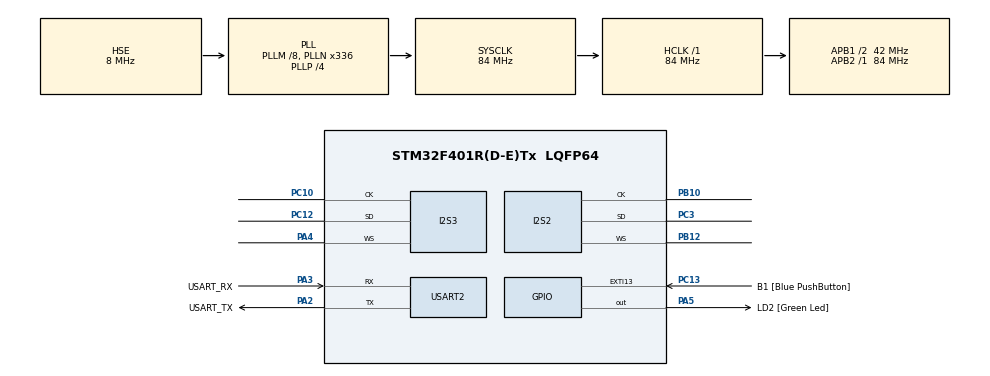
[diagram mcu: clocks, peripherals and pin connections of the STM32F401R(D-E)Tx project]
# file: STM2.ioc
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Dma.Request0=SPI2_RX
Dma.Request1=SPI3_RX
Dma.SPI2_RX.0.Direction=DMA_PERIPH_TO_MEMORY
Dma.SPI2_RX.0.FIFOMode=DMA_FIFOMODE_DISABLE
Dma.SPI2_RX.0.Instance=DMA1_Stream3
Dma.SPI2_RX.0.MemDataAlignment=DMA_MDATAALIGN_HALFWORD
Dma.SPI2_RX.0.MemInc=DMA_MINC_ENABLE
Dma.SPI2_RX.0.Mode=DMA_CIRCULAR
Dma.SPI2_RX.0.PeriphDataAlignment=DMA_PDATAALIGN_HALFWORD
Dma.SPI2_RX.0.PeriphInc=DMA_PINC_DISABLE
Dma.SPI2_RX.0.Priority=DMA_PRIORITY_LOW
Dma.SPI3_RX.1.Direction=DMA_PERIPH_TO_MEMORY
Dma.SPI3_RX.1.FIFOMode=DMA_FIFOMODE_DISABLE
Dma.SPI3_RX.1.Instance=DMA1_Stream0
Dma.SPI3_RX.1.MemDataAlignment=DMA_MDATAALIGN_HALFWORD
Dma.SPI3_RX.1.MemInc=DMA_MINC_ENABLE
Dma.SPI3_RX.1.Mode=DMA_CIRCULAR
Dma.SPI3_RX.1.PeriphDataAlignment=DMA_PDATAALIGN_HALFWORD
Dma.SPI3_RX.1.PeriphInc=DMA_PINC_DISABLE
Dma.SPI3_RX.1.Priority=DMA_PRIORITY_LOW
I2S2.AudioFreq=I2S_AUDIOFREQ_16K
I2S2.ErrorAudioFreq=-0.26 %
I2S2.FullDuplexMode=I2S_FULLDUPLEXMODE_DISABLE
I2S2.Instance=SPI$Index
I2S2.Mode=I2S_MODE_MASTER_RX
I2S2.RealAudioFreq=15.957 KHz
I2S2.VirtualMode=I2S_MODE_MASTER
I2S3.AudioFreq=I2S_AUDIOFREQ_16K
I2S3.ErrorAudioFreq=-0.26 %
I2S3.FullDuplexMode=I2S_FULLDUPLEXMODE_DISABLE
I2S3.Instance=SPI$Index
I2S3.Mode=I2S_MODE_SLAVE_RX
I2S3.RealAudioFreq=15.957 KHz
I2S3.VirtualMode=I2S_MODE_SLAVE
Mcu.Family=STM32F4
Mcu.Name=STM32F401R(D-E)Tx
Mcu.Package=LQFP64
NVIC.DMA1_Stream0_IRQn=true\:0\:0\:false\:false\:true\:false\:true\:true
NVIC.DMA1_Stream3_IRQn=true\:0\:0\:false\:false\:true\:false\:true\:true
NVIC.PriorityGroup=NVIC_PRIORITYGROUP_0
PA13.GPIO_Label=TMS
PA13.Mode=Serial_Wire
PA13.Signal=SYS_JTMS-SWDIO
PA14.GPIO_Label=TCK
PA14.Mode=Serial_Wire
PA14.Signal=SYS_JTCK-SWCLK
PA2.GPIO_Label=USART_TX
PA2.GPIO_Mode=GPIO_MODE_AF_PP
PA2.GPIO_PuPd=GPIO_NOPULL
PA2.GPIO_Speed=GPIO_SPEED_FREQ_LOW
PA2.Mode=Asynchronous
PA2.Signal=USART2_TX
PA3.GPIO_Label=USART_RX
PA3.GPIO_Mode=GPIO_MODE_AF_PP
PA3.GPIO_PuPd=GPIO_NOPULL
PA3.GPIO_Speed=GPIO_SPEED_FREQ_LOW
PA3.Mode=Asynchronous
PA3.Signal=USART2_RX
PA4.Mode=Half_Duplex_Slave
PA4.Signal=I2S3_WS
PA5.GPIO_Label=LD2 [Green Led]
PA5.GPIO_Mode=GPIO_MODE_OUTPUT_PP
PA5.GPIO_PuPd=GPIO_NOPULL
PA5.GPIO_Speed=GPIO_SPEED_FREQ_LOW
PA5.Signal=GPIO_Output
PB10.Mode=Half_Duplex_Master
PB10.Signal=I2S2_CK
PB12.Mode=Half_Duplex_Master
PB12.Signal=I2S2_WS
PB3.GPIO_Label=SWO
PB3.Signal=SYS_JTDO-SWO
PC10.Mode=Half_Duplex_Slave
PC10.Signal=I2S3_CK
PC12.Mode=Half_Duplex_Slave
PC12.Signal=I2S3_SD
PC13-ANTI_TAMP.GPIO_Label=B1 [Blue PushButton]
PC13-ANTI_TAMP.GPIO_ModeDefaultEXTI=GPIO_MODE_IT_FALLING
PC13-ANTI_TAMP.GPIO_PuPd=GPIO_NOPULL
PC13-ANTI_TAMP.Signal=GPXTI13
PC14-OSC32_IN.Signal=RCC_OSC32_IN
PC15-OSC32_OUT.Signal=RCC_OSC32_OUT
PC3.Mode=Half_Duplex_Master
PC3.Signal=I2S2_SD
PH0\ -\ OSC_IN.Mode=HSE-External-Clock-Source
PH0\ -\ OSC_IN.Signal=RCC_OSC_IN
PH1\ -\ OSC_OUT.Mode=HSE-External-Clock-Source
PH1\ -\ OSC_OUT.Signal=RCC_OSC_OUT
ProjectManager.HeapSize=0x200
ProjectManager.StackSize=0x400
ProjectManager.TargetToolchain=STM32CubeIDE
RCC.48MHZClocksFreq_Value=48000000
RCC.AHBFreq_Value=84000000
RCC.APB1CLKDivider=RCC_HCLK_DIV2
RCC.APB1Freq_Value=42000000
RCC.APB1TimFreq_Value=84000000
RCC.APB2Freq_Value=84000000
RCC.APB2TimFreq_Value=84000000
RCC.CortexFreq_Value=84000000
RCC.HCLKFreq_Value=84000000
RCC.HSE_VALUE=8000000
RCC.HSI_VALUE=16000000
RCC.PLLM=8
RCC.PLLN=336
RCC.PLLP=RCC_PLLP_DIV4
RCC.PLLQ=7
RCC.PLLSourceVirtual=RCC_PLLSOURCE_HSE
RCC.SYSCLKFreq_VALUE=84000000
RCC.SYSCLKSource=RCC_SYSCLKSOURCE_PLLCLK
RCC.VCOOutputFreq_Value=336000000
USART2.VirtualMode=VM_ASYNC
board=NUCLEO-F401RE

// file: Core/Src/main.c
/* USER CODE BEGIN Header */
/**
  ******************************************************************************
  * @file           : main.c
  * @brief          : Main program body
  ******************************************************************************
  * @attention
  *
  * Copyright (c) 2026 STMicroelectronics.
  * All rights reserved.
  *
  * This software is licensed under terms that can be found in the LICENSE file
  * in the root directory of this software component.
  * If no LICENSE file comes with this software, it is provided AS-IS.
  *
  ******************************************************************************
  */
/* USER CODE END Header */
#include "main.h"

I2S_HandleTypeDef hi2s2;
I2S_HandleTypeDef hi2s3;
DMA_HandleTypeDef hdma_spi2_rx;
DMA_HandleTypeDef hdma_spi3_rx;

UART_HandleTypeDef huart2;

/* USER CODE BEGIN PV */
/* Per-channel samples in one FFT window. Swap this to 512/1024 for the
 * cycle-count benchmark later; everything else scales off it. */
#define WINDOW_SAMPLES 256
/* Each I2S peripheral delivers interleaved stereo (L,R,L,R,...), and the
 * DMA buffer holds two halves (half/full complete = ping-pong) so one half
 * can be processed while the other keeps filling. */
#define I2S_BUF_LEN (WINDOW_SAMPLES * 2 * 2)

int16_t i2s2_buf[I2S_BUF_LEN];
int16_t i2s3_buf[I2S_BUF_LEN];

volatile uint8_t i2s2_half_ready = 0;
volatile uint8_t i2s2_full_ready = 0;
volatile uint8_t i2s3_half_ready = 0;
volatile uint8_t i2s3_full_ready = 0;
/* USER CODE END PV */

void SystemClock_Config(void);
void PeriphCommonClock_Config(void);
static void MX_GPIO_Init(void);
static void MX_DMA_Init(void);
static void MX_I2S2_Init(void);
static void MX_I2S3_Init(void);
static void MX_USART2_UART_Init(void);

/* USER CODE BEGIN 0 */
/* I2S3 is the slave: it only ever gets a bit clock if I2S2's CK/WS pins are
 * physically jumpered to I2S3's CK/WS pins (PB10->PC10, PB12->PA4). Without
 * that wire, I2S3's DMA sits idle forever and i2s3_*_ready never becomes
 * true - that's expected on a bare board with no jumpers/mics attached yet. */

void HAL_I2S_RxHalfCpltCallback(I2S_HandleTypeDef *hi2s)
{
  if (hi2s->Instance == SPI2)
  {
    i2s2_half_ready = 1;
  }
  else if (hi2s->Instance == SPI3)
  {
    i2s3_half_ready = 1;
  }
}

void HAL_I2S_RxCpltCallback(I2S_HandleTypeDef *hi2s)
{
  if (hi2s->Instance == SPI2)
  {
    i2s2_full_ready = 1;
  }
  else if (hi2s->Instance == SPI3)
  {
    i2s3_full_ready = 1;
  }
}
/* USER CODE END 0 */

int main(void)
{

  /* MCU Configuration--------------------------------------------------------*/

  /* Reset of all peripherals, Initializes the Flash interface and the Systick. */
  HAL_Init();

  /* Configure the system clock */
  SystemClock_Config();

/* Configure the peripherals common clocks */
  PeriphCommonClock_Config();

  /* Initialize all configured peripherals */
  MX_GPIO_Init();
  MX_DMA_Init();
  MX_I2S2_Init();
  MX_I2S3_Init();
  MX_USART2_UART_Init();
  /* USER CODE BEGIN 2 */
  /* Start the slave (I2S3) first so it's already listening before the
   * master (I2S2) begins driving the shared clock line. */
  HAL_I2S_Receive_DMA(&hi2s3, (uint16_t *)i2s3_buf, I2S_BUF_LEN);
  HAL_I2S_Receive_DMA(&hi2s2, (uint16_t *)i2s2_buf, I2S_BUF_LEN);
  /* USER CODE END 2 */

  /* Infinite loop */
  /* USER CODE BEGIN WHILE */
  while (1)
  {
    /* A "pair" (same half, both mics) should land together since I2S3
     * is clock-synced off I2S2 - but each callback fires independently,
     * so wait for both flags before treating the window as ready. */
    if (i2s2_half_ready && i2s3_half_ready)
    {
      i2s2_half_ready = 0;
      i2s3_half_ready = 0;
      /* TODO: GCC-PHAT on i2s2_buf[0 .. I2S_BUF_LEN/2-1], i2s3_buf[same range] */
      HAL_GPIO_TogglePin(LD2_GPIO_Port, LD2_Pin);
    }

    if (i2s2_full_ready && i2s3_full_ready)
    {
      i2s2_full_ready = 0;
      i2s3_full_ready = 0;
      /* TODO: GCC-PHAT on i2s2_buf[I2S_BUF_LEN/2 .. I2S_BUF_LEN-1], i2s3_buf[same range] */
      HAL_GPIO_TogglePin(LD2_GPIO_Port, LD2_Pin);
    }
    /* USER CODE END WHILE */

  }
}

void SystemClock_Config(void)
{
  RCC_OscInitTypeDef RCC_OscInitStruct = {0};
  RCC_ClkInitTypeDef RCC_ClkInitStruct = {0};

  /** Configure the main internal regulator output voltage
  */
  __HAL_RCC_PWR_CLK_ENABLE();
  __HAL_PWR_VOLTAGESCALING_CONFIG(PWR_REGULATOR_VOLTAGE_SCALE2);

  /** Initializes the RCC Oscillators according to the specified parameters
  * in the RCC_OscInitTypeDef structure.
  */
  RCC_OscInitStruct.OscillatorType = RCC_OSCILLATORTYPE_HSE;
  RCC_OscInitStruct.HSEState = RCC_HSE_BYPASS;
  RCC_OscInitStruct.PLL.PLLState = RCC_PLL_ON;
  RCC_OscInitStruct.PLL.PLLSource = RCC_PLLSOURCE_HSE;
  RCC_OscInitStruct.PLL.PLLM = 8;
  RCC_OscInitStruct.PLL.PLLN = 336;
  RCC_OscInitStruct.PLL.PLLP = RCC_PLLP_DIV4;
  RCC_OscInitStruct.PLL.PLLQ = 7;
  if (HAL_RCC_OscConfig(&RCC_OscInitStruct) != HAL_OK)
  {
    Error_Handler();
  }

  /** Initializes the CPU, AHB and APB buses clocks
  */
  RCC_ClkInitStruct.ClockType = RCC_CLOCKTYPE_HCLK|RCC_CLOCKTYPE_SYSCLK
                              |RCC_CLOCKTYPE_PCLK1|RCC_CLOCKTYPE_PCLK2;
  RCC_ClkInitStruct.SYSCLKSource = RCC_SYSCLKSOURCE_PLLCLK;
  RCC_ClkInitStruct.AHBCLKDivider = RCC_SYSCLK_DIV1;
  RCC_ClkInitStruct.APB1CLKDivider = RCC_HCLK_DIV2;
  RCC_ClkInitStruct.APB2CLKDivider = RCC_HCLK_DIV1;

  if (HAL_RCC_ClockConfig(&RCC_ClkInitStruct, FLASH_LATENCY_2) != HAL_OK)
  {
    Error_Handler();
  }
}

void PeriphCommonClock_Config(void)
{
  RCC_PeriphCLKInitTypeDef PeriphClkInitStruct = {0};

  /** Initializes the peripherals clock
  */
  PeriphClkInitStruct.PeriphClockSelection = RCC_PERIPHCLK_I2S;
  PeriphClkInitStruct.PLLI2S.PLLI2SN = 192;
  PeriphClkInitStruct.PLLI2S.PLLI2SR = 2;
  if (HAL_RCCEx_PeriphCLKConfig(&PeriphClkInitStruct) != HAL_OK)
  {
    Error_Handler();
  }
}

static void MX_I2S2_Init(void)
{

  hi2s2.Instance = SPI2;
  hi2s2.Init.Mode = I2S_MODE_MASTER_RX;
  hi2s2.Init.Standard = I2S_STANDARD_PHILIPS;
  hi2s2.Init.DataFormat = I2S_DATAFORMAT_16B;
  hi2s2.Init.MCLKOutput = I2S_MCLKOUTPUT_DISABLE;
  hi2s2.Init.AudioFreq = I2S_AUDIOFREQ_16K;
  hi2s2.Init.CPOL = I2S_CPOL_LOW;
  hi2s2.Init.ClockSource = I2S_CLOCK_PLL;
  hi2s2.Init.FullDuplexMode = I2S_FULLDUPLEXMODE_DISABLE;
  if (HAL_I2S_Init(&hi2s2) != HAL_OK)
  {
    Error_Handler();
  }

}

static void MX_I2S3_Init(void)
{

  hi2s3.Instance = SPI3;
  hi2s3.Init.Mode = I2S_MODE_SLAVE_RX;
  hi2s3.Init.Standard = I2S_STANDARD_PHILIPS;
  hi2s3.Init.DataFormat = I2S_DATAFORMAT_16B;
  hi2s3.Init.MCLKOutput = I2S_MCLKOUTPUT_DISABLE;
  hi2s3.Init.AudioFreq = I2S_AUDIOFREQ_16K;
  hi2s3.Init.CPOL = I2S_CPOL_LOW;
  hi2s3.Init.ClockSource = I2S_CLOCK_PLL;
  hi2s3.Init.FullDuplexMode = I2S_FULLDUPLEXMODE_DISABLE;
  if (HAL_I2S_Init(&hi2s3) != HAL_OK)
  {
    Error_Handler();
  }

}

static void MX_USART2_UART_Init(void)
{

  huart2.Instance = USART2;
  huart2.Init.BaudRate = 115200;
  huart2.Init.WordLength = UART_WORDLENGTH_8B;
  huart2.Init.StopBits = UART_STOPBITS_1;
  huart2.Init.Parity = UART_PARITY_NONE;
  huart2.Init.Mode = UART_MODE_TX_RX;
  huart2.Init.HwFlowCtl = UART_HWCONTROL_NONE;
  huart2.Init.OverSampling = UART_OVERSAMPLING_16;
  if (HAL_UART_Init(&huart2) != HAL_OK)
  {
    Error_Handler();
  }

}

static void MX_DMA_Init(void)
{

  /* DMA controller clock enable */
  __HAL_RCC_DMA1_CLK_ENABLE();

  /* DMA interrupt init */
  /* DMA1_Stream0_IRQn interrupt configuration */
  HAL_NVIC_SetPriority(DMA1_Stream0_IRQn, 0, 0);
  HAL_NVIC_EnableIRQ(DMA1_Stream0_IRQn);
  /* DMA1_Stream3_IRQn interrupt configuration */
  HAL_NVIC_SetPriority(DMA1_Stream3_IRQn, 0, 0);
  HAL_NVIC_EnableIRQ(DMA1_Stream3_IRQn);

}

static void MX_GPIO_Init(void)
{
  GPIO_InitTypeDef GPIO_InitStruct = {0};

  /* GPIO Ports Clock Enable */
  __HAL_RCC_GPIOC_CLK_ENABLE();
  __HAL_RCC_GPIOH_CLK_ENABLE();
  __HAL_RCC_GPIOA_CLK_ENABLE();
  __HAL_RCC_GPIOB_CLK_ENABLE();

  /*Configure GPIO pin Output Level */
  HAL_GPIO_WritePin(LD2_GPIO_Port, LD2_Pin, GPIO_PIN_RESET);

  /*Configure GPIO pin : B1_Pin */
  GPIO_InitStruct.Pin = B1_Pin;
  GPIO_InitStruct.Mode = GPIO_MODE_IT_FALLING;
  GPIO_InitStruct.Pull = GPIO_NOPULL;
  HAL_GPIO_Init(B1_GPIO_Port, &GPIO_InitStruct);

  /*Configure GPIO pin : LD2_Pin */
  GPIO_InitStruct.Pin = LD2_Pin;
  GPIO_InitStruct.Mode = GPIO_MODE_OUTPUT_PP;
  GPIO_InitStruct.Pull = GPIO_NOPULL;
  GPIO_InitStruct.Speed = GPIO_SPEED_FREQ_LOW;
  HAL_GPIO_Init(LD2_GPIO_Port, &GPIO_InitStruct);

}

void Error_Handler(void)
{
  __disable_irq();
  while (1)
  {
  }
}
